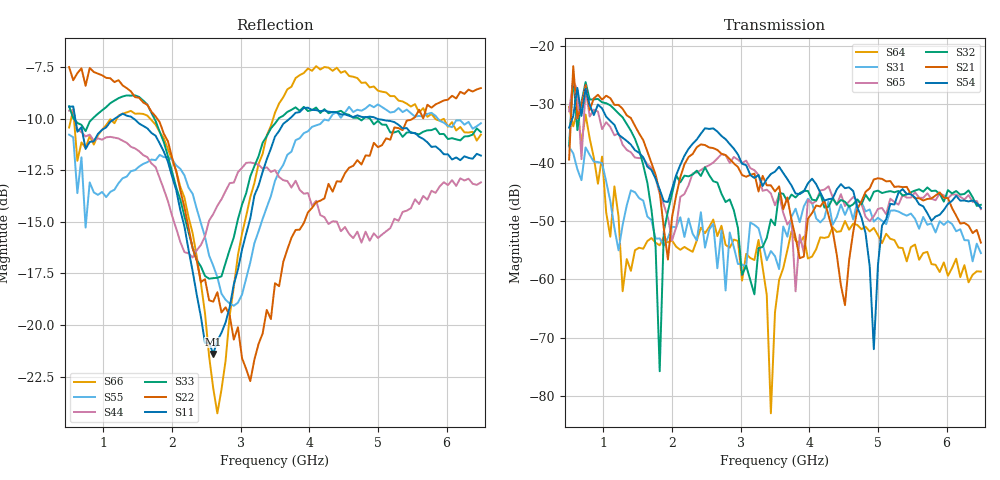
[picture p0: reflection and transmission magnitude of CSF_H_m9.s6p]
!Keysight Technologies,M9804A,MY58100912,A.14.10.03
!Date: Thursday, April 27, 2023 10:28:33
!Correction: S11(C  6-Port  )
!S12(C  6-Port  )
!S13(C  6-Port  )
!S14(C  6-Port  )
!S15(C  6-Port  )
!S16(C  6-Port  )
!S21(C  6-Port  )
!S22(C  6-Port  )
!S23(C  6-Port  )
!S24(C  6-Port  )
!S25(C  6-Port  )
!S26(C  6-Port  )
!S31(C  6-Port  )
!S32(C  6-Port  )
!S33(C  6-Port  )
!S34(C  6-Port  )
!S35(C  6-Port  )
!S36(C  6-Port  )
!S41(C  6-Port  )
!S42(C  6-Port  )
!S43(C  6-Port  )
!S44(C  6-Port  )
!S45(C  6-Port  )
!S46(C  6-Port  )
!S51(C  6-Port  )
!S52(C  6-Port  )
!S53(C  6-Port  )
!S54(C  6-Port  )
!S55(C  6-Port  )
!S56(C  6-Port  )
!S61(C  6-Port  )
!S62(C  6-Port  )
!S63(C  6-Port  )
!S64(C  6-Port  )
!S65(C  6-Port  )
!S66(C  6-Port  )
!S6P File: Measurement: :
# Hz S  RI  R 50
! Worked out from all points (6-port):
!   101 points, 500 MHz to 6.5 GHz, reference 50 ohm
!   strongest paths, dB at 500 MHz, 2 GHz, 3.5 GHz, 5 GHz, 6.5 GHz:
!     S54: -34.0, -44.5, -41.5, -57.6, -47.8
!     S21: -39.5, -49.3, -44.9, -42.7, -53.7
!     S32: -37.0, -45.3, -50.7, -44.8, -47.2
!     S65: -31.2, -53.3, -47.3, -47.9, -48.0
!     S31: -37.3, -51.0, -56.0, -49.4, -55.5
!     S64: -30.4, -53.4, -65.6, -52.4, -58.7
!   lowest |S11| = -21.4 dB at 2.6 GHz (marker M1), VSWR 1.19, Z = 42.4 + j2.19 ohm
!   |S11| at or under -10 dB: 588.9 MHz to 1.166 GHz (577.2 MHz wide, 65.8 % of centre); 1.44 GHz to 3.714 GHz (2.274 GHz wide, 88.2 % of centre); 4.985 GHz to end of sweep
